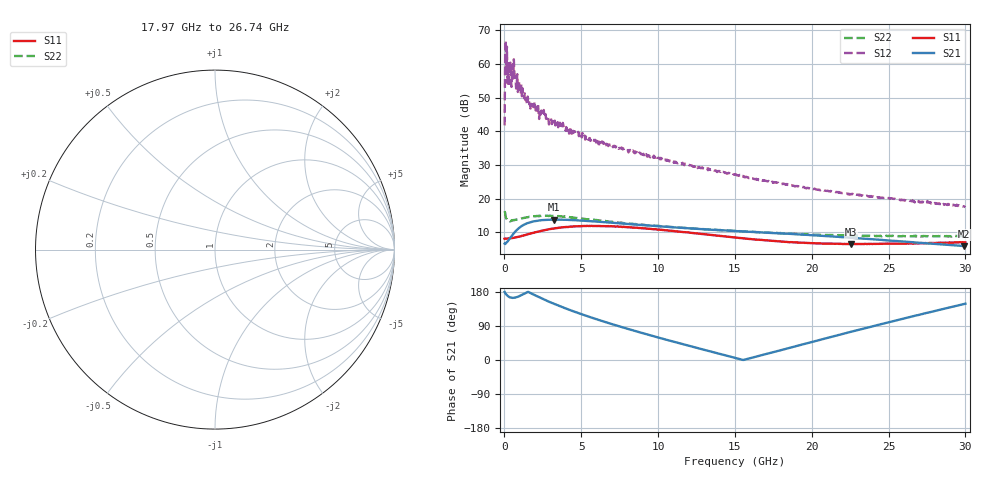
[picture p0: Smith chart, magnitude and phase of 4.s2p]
! MMA017AA S Parameters
! Please see datasheet for reference plane information
! MMA017AA Wafer 16134 018
! Vd=4V;Id=87.01mA;Temp=25C
# GHZ S DB R 50
! Freq	dBS11	angS11	dBS21	angS21	dBS12	angS12	dBS22	angS22
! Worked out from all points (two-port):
!   801 points, 10 MHz to 30 GHz, reference 50 ohm
!   highest |S21| = 13.80 dB at 3.234 GHz (marker M1); lowest = 5.9 dB at 29.93 GHz (marker M2)
!   |S21| within 3 dB of the highest: 821 MHz to 13.47 GHz (12.65 GHz wide, 177 % of centre)
!   lowest |S11| = 6.5 dB at 22.54 GHz (marker M3)
!   |S11| at or under -10 dB: nowhere
!   |S22| runs from 8.8 to 16.3 dB; largest |S21 - S12| = 2.2e+03
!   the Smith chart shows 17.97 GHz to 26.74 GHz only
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0.01  8.15 1.2  6.70 179.6  41.73 6.4  16.31 4.3
0.122  8.15 2.4  6.96 172.6  57.05 29.8  14.07 6.9
0.235  8.21 4.5  7.50 168.3  60.23 43.8  13.46 2.9
0.272  8.21 5.4  7.70 167.2  53.50 26.1  13.56 4.9
0.31  8.28 6.2  7.95 166.2  60.72 170.3  13.47 8.3
0.347  8.23 6.7  8.19 165.3  57.22 73.8  13.31 11.0
0.385  8.26 7.4  8.43 165.0  60.33 96.2  13.26 11.8
0.46  8.33 8.8  8.85 164.3  53.16 80.5  13.53 15.4
0.497  8.34 9.6  9.09 163.9  59.03 90.3  13.66 18.2
0.685  8.49 12.8  10.15 164.5  56.01 119.6  13.69 25.5
0.722  8.53 13.7  10.34 164.9  55.95 79.4  13.77 26.9
0.872  8.69 15.9  11.02 166.9  51.63 70.3  13.89 32.7
1.135  8.99 20.0  11.93 171.7  50.38 69.6  14.13 41.5
3.234  11.17 38.1  13.80 148.1  42.93 71.8  14.87 90.5
5.033  11.91 46.1  13.50 120.7  38.17 60.4  14.05 119.5
10.019  10.88 73.8  11.82 59.3  32.13 38.5  11.90 178.5
15.005  8.48 114.3  10.42 5.6  27.18 7.7  10.45 136.8
20.028  6.80 168.2  9.17 47.7  22.81 30.7  9.34 95.8
22.54  6.53 162.1  8.44 74.4  21.38 51.0  9.06 76.1
25.014  6.65 133.2  7.60 99.6  20.22 71.6  9.00 56.7
29.925  7.05 76.5  5.92 147.9  17.71 111.5  9.02 21.5
30  7.05 75.4  5.93 148.6  17.49 113.5  9.01 21.3
